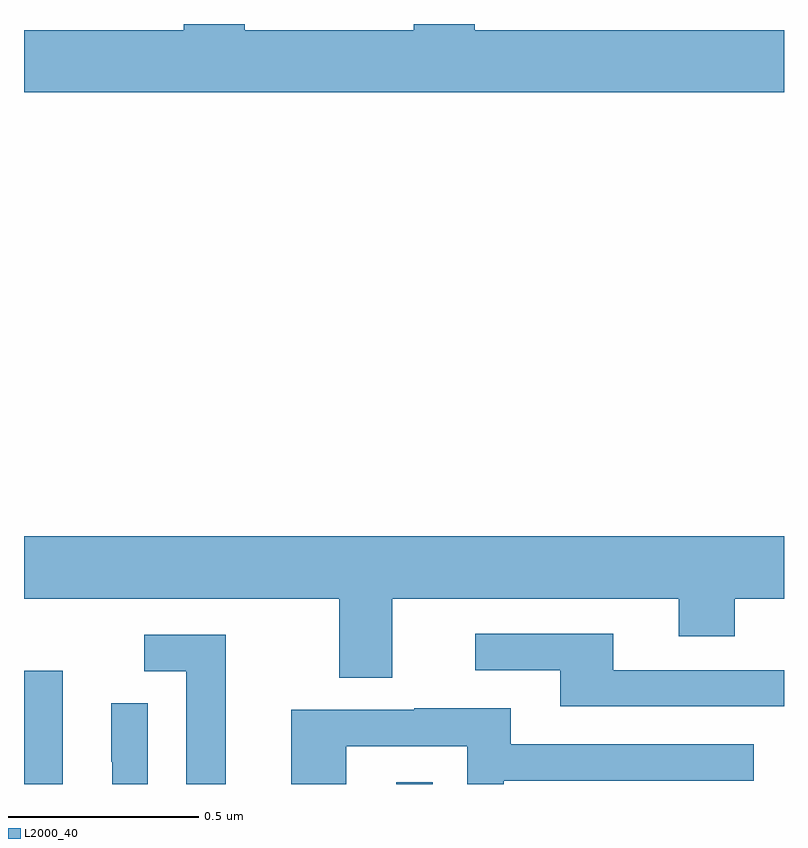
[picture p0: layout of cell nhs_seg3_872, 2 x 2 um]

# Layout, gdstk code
import gdstk
lib = gdstk.Library(unit=1e-6, precision=1e-09)
def R(c, l, rs):  # rectangles x0, y0, x1, y1
    for r in rs: c.add(gdstk.rectangle(r[:2], r[2:], *l))
def P(c, l, *ps):  # polygons
    for p in ps: c.add(gdstk.Polygon(p, *l))
L2000_40 = (2000, 40)

nhs_seg3_872 = lib.new_cell('nhs_seg3_872')
R(nhs_seg3_872, L2000_40, [(121,728.4,121.102,728.698), (121.979,728.4,122.076,728.404)])
P(nhs_seg3_872, L2000_40, [(123,730.384),(122.186,730.384),(122.186,730.4),(122.026,730.4),(122.026,730.384),(121.581,730.384),(121.581,730.4),(121.421,730.4),(121.421,730.384),(121,730.384),(121,730.22),(123,730.22)],
  [(121.969,728.888),(122.723,728.888),(122.723,728.789),(122.871,728.789),(122.871,728.888),(123,728.888),(123,729.052),(121,729.052),(121,728.888),(121.829,728.888),(121.829,728.68),(121.969,728.68)],
  [(123,728.7),(122.551,728.7),(122.551,728.796),(122.187,728.796),(122.187,728.7),(122.411,728.7),(122.411,728.604),(123,728.604)],
  [(121.531,728.793),(121.317,728.793),(121.317,728.697),(121.427,728.697),(121.427,728.4),(121.531,728.4)],
  [(121.326,728.612),(121.23,728.612),(121.23,728.458),(121.232,728.458),(121.232,728.4),(121.326,728.4)],
  [(121.848,728.499),(122.166,728.499),(122.166,728.4),(122.262,728.4),(122.262,728.409),(122.921,728.409),(122.921,728.505),(122.281,728.505),(122.281,728.599),(122.027,728.599),(122.027,728.595),(121.703,728.595),(121.703,728.4),(121.848,728.4)])

lib.write_gds('nhs_seg3_872.gds')
